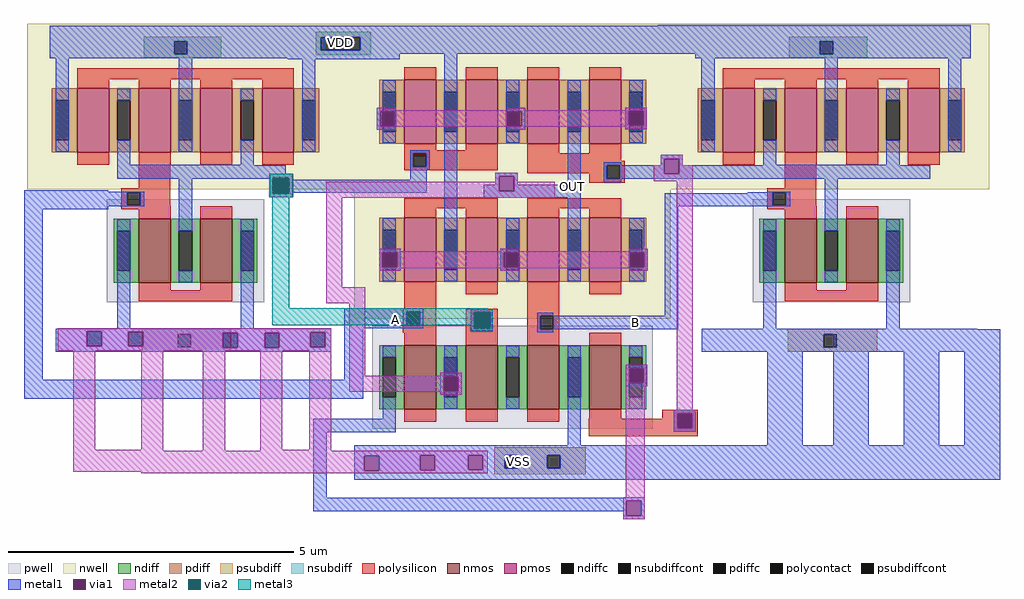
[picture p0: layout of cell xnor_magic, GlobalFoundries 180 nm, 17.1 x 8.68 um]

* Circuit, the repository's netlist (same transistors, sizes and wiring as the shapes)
* NGSPICE file created from xnor_magic.ext - technology: gf180mcuD

.subckt pmos_3p3_VZX6F7 a_164_n112# a_n164_n156# a_n252_n112# a_52_n156# w_n338_n242#
+ a_n52_n112#
X0 a_164_n112# a_52_n156# a_n52_n112# w_n338_n242# pfet_03v3 ad=0.4928p pd=3.12u as=0.2912p ps=1.64u w=1.12u l=0.56u
X1 a_n52_n112# a_n164_n156# a_n252_n112# w_n338_n242# pfet_03v3 ad=0.2912p pd=1.64u as=0.4928p ps=3.12u w=1.12u l=0.56u
.ends

.subckt pmos_3p3_VH67F7 a_380_n112# a_164_n112# a_n164_n156# a_n380_n156# a_52_n156#
+ a_n268_n112# w_n554_n242# a_268_n156# a_n52_n112# a_n468_n112#
X0 a_164_n112# a_52_n156# a_n52_n112# w_n554_n242# pfet_03v3 ad=0.2912p pd=1.64u as=0.2912p ps=1.64u w=1.12u l=0.56u
X1 a_380_n112# a_268_n156# a_164_n112# w_n554_n242# pfet_03v3 ad=0.4928p pd=3.12u as=0.2912p ps=1.64u w=1.12u l=0.56u
X2 a_n268_n112# a_n380_n156# a_n468_n112# w_n554_n242# pfet_03v3 ad=0.2912p pd=1.64u as=0.4928p ps=3.12u w=1.12u l=0.56u
X3 a_n52_n112# a_n164_n156# a_n268_n112# w_n554_n242# pfet_03v3 ad=0.2912p pd=1.64u as=0.2912p ps=1.64u w=1.12u l=0.56u
.ends

.subckt nmos_3p3_F2UGVV a_164_n112# a_n164_n156# a_n252_n112# a_52_n156# a_n52_n112#
+ VSUBS
X0 a_164_n112# a_52_n156# a_n52_n112# VSUBS nfet_03v3 ad=0.4928p pd=3.12u as=0.2912p ps=1.64u w=1.12u l=0.56u
X1 a_n52_n112# a_n164_n156# a_n252_n112# VSUBS nfet_03v3 ad=0.2912p pd=1.64u as=0.4928p ps=3.12u w=1.12u l=0.56u
.ends

.subckt inverter_magic VIN VOUT VDD VSS
Xpmos_3p3_VH67F7_0 VDD VOUT VIN VIN VIN VOUT VDD VIN VDD VDD pmos_3p3_VH67F7
Xnmos_3p3_F2UGVV_0 VSS VIN VSS VIN VOUT VSS nmos_3p3_F2UGVV
.ends

.subckt nmos_3p3_A2UGVV a_56_n112# a_n56_n156# a_n144_n112# VSUBS
X0 a_56_n112# a_n56_n156# a_n144_n112# VSUBS nfet_03v3 ad=0.4928p pd=3.12u as=0.4928p ps=3.12u w=1.12u l=0.56u
.ends

.subckt xnor_magic A B OUT VDD VSS
Xpmos_3p3_VZX6F7_0 m1_86_n315# B m1_86_n315# B VDD OUT pmos_3p3_VZX6F7
Xpmos_3p3_VZX6F7_1 m1_78_179# inverter_magic_1/VOUT m1_78_179# inverter_magic_1/VOUT
+ VDD VDD pmos_3p3_VZX6F7
Xpmos_3p3_VZX6F7_2 m1_78_179# inverter_magic_0/VOUT m1_78_179# inverter_magic_0/VOUT
+ VDD OUT pmos_3p3_VZX6F7
Xpmos_3p3_VZX6F7_3 m1_86_n315# A m1_86_n315# A VDD VDD pmos_3p3_VZX6F7
Xinverter_magic_0 B inverter_magic_0/VOUT VDD VSS inverter_magic
Xinverter_magic_1 A inverter_magic_1/VOUT VDD VSS inverter_magic
Xnmos_3p3_A2UGVV_0 m1_n144_n1158# inverter_magic_0/VOUT VSS VSS nmos_3p3_A2UGVV
Xnmos_3p3_A2UGVV_1 OUT A m1_n144_n1158# VSS nmos_3p3_A2UGVV
Xnmos_3p3_A2UGVV_2 nmos_3p3_A2UGVV_2/a_56_n112# inverter_magic_1/VOUT OUT VSS nmos_3p3_A2UGVV
Xnmos_3p3_A2UGVV_3 VSS B nmos_3p3_A2UGVV_2/a_56_n112# VSS nmos_3p3_A2UGVV
.ends

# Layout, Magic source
magic
tech gf180mcuD
magscale 1 10
<< nwell >>
rect -38 542 1117 549
rect -38 538 1139 542
rect -38 521 1157 538
rect -136 477 1157 521
rect -136 461 149 477
rect -138 445 149 461
rect 963 458 1157 477
rect 974 449 1157 458
rect 982 445 1138 449
rect -138 434 100 445
rect 1104 443 1125 445
rect -138 425 88 434
rect -38 -31 25 425
rect 174 36 502 106
rect 605 25 933 95
rect 1108 -31 1117 443
<< psubdiff >>
rect 490 -962 811 -935
rect 490 -1008 526 -962
rect 572 -1008 675 -962
rect 721 -1008 811 -962
rect 490 -1029 811 -1008
<< nsubdiff >>
rect -136 502 57 521
rect -136 456 -119 502
rect 21 456 57 502
rect -136 441 57 456
<< psubdiffcont >>
rect 526 -1008 572 -962
rect 675 -1008 721 -962
<< nsubdiffcont >>
rect -119 456 21 502
<< polysilicon >>
rect 174 95 502 106
rect 822 95 934 110
rect 174 49 206 95
rect 252 49 502 95
rect 174 36 502 49
rect 605 70 934 95
rect 605 53 947 70
rect 605 25 884 53
rect 822 7 884 25
rect 930 7 947 53
rect 822 -7 947 7
rect 174 -97 502 -61
rect 606 -97 934 -61
rect 174 -448 286 -379
rect 169 -460 286 -448
rect 169 -506 183 -460
rect 229 -506 286 -460
rect 169 -533 286 -506
rect 174 -555 286 -533
rect 390 -466 502 -449
rect 390 -512 423 -466
rect 469 -512 502 -466
rect 390 -544 502 -512
rect 606 -474 718 -378
rect 606 -520 651 -474
rect 697 -520 718 -474
rect 606 -562 718 -520
rect 1078 -822 1203 -803
rect 1078 -834 1131 -822
rect 821 -868 1131 -834
rect 1177 -868 1203 -822
rect 821 -895 1203 -868
<< polycontact >>
rect 206 49 252 95
rect 884 7 930 53
rect 183 -506 229 -460
rect 423 -512 469 -466
rect 651 -520 697 -474
rect 1131 -868 1177 -822
<< metal1 >>
rect 1062 543 2160 544
rect -1068 502 2160 543
rect -1068 456 -119 502
rect 21 456 2160 502
rect -1068 445 2160 456
rect -233 425 158 445
rect 99 255 145 352
rect 78 243 145 255
rect 78 191 90 243
rect 142 191 145 243
rect 78 179 145 191
rect 99 132 145 179
rect 195 95 264 106
rect -286 24 -240 53
rect 195 49 206 95
rect 252 49 264 95
rect 195 38 264 49
rect -298 8 -215 24
rect -1158 -39 -862 -34
rect -1158 -40 -815 -39
rect -1158 -85 -862 -40
rect -298 -44 -281 8
rect -229 3 -215 8
rect 195 3 254 38
rect -229 -43 254 3
rect -229 -44 -215 -43
rect -298 -59 -215 -44
rect -1158 -90 -815 -85
rect -1158 -100 -862 -90
rect -1158 -698 -1092 -100
rect 99 -239 145 -132
rect 86 -251 162 -239
rect 86 -303 98 -251
rect 150 -303 162 -251
rect 86 -315 162 -303
rect 99 -352 145 -315
rect 315 -352 361 445
rect 531 255 577 354
rect 531 243 598 255
rect 531 191 534 243
rect 586 191 598 243
rect 531 179 598 191
rect 531 132 577 179
rect 494 15 572 27
rect 494 -14 508 15
rect 453 -37 508 -14
rect 560 -14 572 15
rect 747 -14 793 352
rect 963 256 1011 352
rect 949 244 1025 256
rect 949 192 961 244
rect 1013 192 1025 244
rect 949 180 1025 192
rect 963 132 1011 180
rect 1073 76 1150 91
rect 873 53 934 65
rect 1073 53 1086 76
rect 873 7 884 53
rect 930 24 1086 53
rect 1138 53 1150 76
rect 1138 24 2017 53
rect 930 7 2017 24
rect 873 -5 934 7
rect 560 -37 793 -14
rect 453 -60 793 -37
rect 531 -239 577 -132
rect 511 -251 580 -239
rect 511 -303 523 -251
rect 575 -303 580 -251
rect 511 -315 580 -303
rect 531 -352 577 -315
rect 747 -352 793 -60
rect 1088 -90 1453 -44
rect 963 -239 1015 -132
rect 963 -251 1028 -239
rect 963 -303 964 -251
rect 1016 -303 1028 -251
rect 963 -315 1028 -303
rect 963 -352 1015 -315
rect -35 -460 241 -448
rect -35 -506 183 -460
rect 229 -506 241 -460
rect -35 -518 241 -506
rect 408 -463 485 -450
rect 408 -515 420 -463
rect 472 -515 485 -463
rect -998 -528 -86 -519
rect -998 -580 -938 -528
rect -886 -529 -86 -528
rect -886 -580 -792 -529
rect -998 -581 -792 -580
rect -740 -532 -86 -529
rect -740 -533 -155 -532
rect -740 -581 -461 -533
rect -998 -585 -461 -581
rect -409 -534 -155 -533
rect -409 -585 -315 -534
rect -998 -586 -315 -585
rect -263 -584 -155 -534
rect -103 -584 -86 -532
rect -263 -586 -86 -584
rect -998 -600 -86 -586
rect -35 -698 31 -518
rect 408 -527 485 -515
rect 640 -474 697 -463
rect 1088 -474 1134 -90
rect 640 -520 651 -474
rect 697 -520 1134 -474
rect 640 -531 697 -520
rect 315 -674 361 -579
rect -1158 -764 31 -698
rect 300 -686 376 -674
rect 300 -738 312 -686
rect 364 -738 376 -686
rect 300 -750 376 -738
rect 99 -835 145 -763
rect 315 -799 361 -750
rect -144 -881 145 -835
rect -144 -1112 -98 -881
rect 747 -927 793 -579
rect 950 -657 1026 -645
rect 950 -709 962 -657
rect 1014 -709 1026 -657
rect 950 -721 1026 -709
rect 1119 -816 1196 -803
rect 1119 -868 1131 -816
rect 1183 -868 1196 -816
rect 1119 -880 1196 -868
rect 1446 -927 1571 -521
rect 1677 -927 1802 -520
rect 1925 -927 2050 -520
rect 2137 -927 2262 -520
rect -1 -962 2262 -927
rect -1 -963 398 -962
rect -1 -964 230 -963
rect -1 -1016 34 -964
rect 86 -1015 230 -964
rect 282 -1014 398 -963
rect 450 -1008 526 -962
rect 572 -1008 675 -962
rect 721 -1008 2262 -962
rect 450 -1014 2262 -1008
rect 282 -1015 2262 -1014
rect 86 -1016 2262 -1015
rect -1 -1048 2262 -1016
rect 941 -1112 1018 -1110
rect -144 -1122 1018 -1112
rect -144 -1158 953 -1122
rect 941 -1174 953 -1158
rect 1005 -1174 1018 -1122
rect 941 -1186 1018 -1174
<< via1 >>
rect 90 191 142 243
rect -281 -44 -229 8
rect 98 -303 150 -251
rect 534 191 586 243
rect 508 -37 560 15
rect 961 192 1013 244
rect 1086 24 1138 76
rect 523 -303 575 -251
rect 964 -303 1016 -251
rect 420 -466 472 -463
rect 420 -512 423 -466
rect 423 -512 469 -466
rect 469 -512 472 -466
rect 420 -515 472 -512
rect -938 -580 -886 -528
rect -792 -581 -740 -529
rect -461 -585 -409 -533
rect -315 -586 -263 -534
rect -155 -584 -103 -532
rect 312 -738 364 -686
rect 962 -709 1014 -657
rect 1131 -822 1183 -816
rect 1131 -868 1177 -822
rect 1177 -868 1183 -822
rect 34 -1016 86 -964
rect 230 -1015 282 -963
rect 398 -1014 450 -962
rect 953 -1174 1005 -1122
<< metal2 >>
rect 78 246 145 255
rect 535 246 598 255
rect 949 246 1025 256
rect 78 244 1025 246
rect 78 243 961 244
rect 78 191 90 243
rect 142 191 534 243
rect 586 192 961 243
rect 1013 192 1025 244
rect 586 191 1025 192
rect 78 188 1025 191
rect 78 179 145 188
rect 535 179 598 188
rect 949 180 1025 188
rect 1073 76 1150 91
rect 1073 53 1086 76
rect -298 10 -215 24
rect -298 -46 -286 10
rect -230 8 -215 10
rect -229 -44 -215 8
rect 494 15 572 27
rect 494 -4 508 15
rect -230 -46 -215 -44
rect -298 -59 -215 -46
rect -99 -37 508 -4
rect 560 -4 572 15
rect 1049 24 1086 53
rect 1138 53 1150 76
rect 1138 24 1186 53
rect 1049 -3 1186 24
rect 560 -37 701 -4
rect -99 -60 701 -37
rect -99 -374 -43 -60
rect 86 -247 162 -239
rect 511 -247 580 -239
rect 963 -247 1028 -239
rect 86 -251 1028 -247
rect 86 -303 98 -251
rect 150 -303 523 -251
rect 575 -303 964 -251
rect 1016 -303 1028 -251
rect 86 -307 1028 -303
rect 86 -315 162 -307
rect 511 -315 580 -307
rect 963 -315 1028 -307
rect -99 -430 38 -374
rect -1040 -528 -81 -518
rect -1040 -580 -938 -528
rect -886 -529 -81 -528
rect -886 -580 -792 -529
rect -1040 -581 -792 -580
rect -740 -532 -81 -529
rect -740 -533 -155 -532
rect -740 -581 -461 -533
rect -1040 -585 -461 -581
rect -409 -534 -155 -533
rect -409 -585 -315 -534
rect -1040 -586 -315 -585
rect -263 -584 -155 -534
rect -103 -584 -81 -532
rect -263 -586 -81 -584
rect -1040 -596 -81 -586
rect -986 -943 -908 -596
rect -748 -943 -670 -596
rect -986 -947 -670 -943
rect -531 -947 -453 -596
rect -331 -943 -253 -596
rect -159 -943 -81 -596
rect -18 -684 38 -430
rect 408 -461 485 -450
rect 408 -517 419 -461
rect 475 -517 485 -461
rect 408 -527 485 -517
rect 950 -657 1026 -645
rect 300 -684 376 -674
rect -18 -686 376 -684
rect -18 -738 312 -686
rect 364 -738 376 -686
rect -18 -740 376 -738
rect 300 -750 376 -740
rect 950 -709 962 -657
rect 1014 -709 1026 -657
rect 950 -721 1026 -709
rect -331 -947 -81 -943
rect -986 -962 467 -947
rect -986 -963 398 -962
rect -986 -964 230 -963
rect -986 -1016 34 -964
rect 86 -1015 230 -964
rect 282 -1014 398 -963
rect 450 -1014 467 -962
rect 282 -1015 467 -1014
rect 86 -1016 467 -1015
rect -986 -1021 467 -1016
rect -748 -1025 467 -1021
rect 950 -1110 1018 -721
rect 1130 -759 1186 -3
rect 1129 -803 1186 -759
rect 1119 -816 1196 -803
rect 1119 -868 1131 -816
rect 1183 -868 1196 -816
rect 1119 -880 1196 -868
rect 941 -1122 1018 -1110
rect 941 -1174 953 -1122
rect 1005 -1174 1018 -1122
rect 941 -1186 1018 -1174
<< via2 >>
rect -286 8 -230 10
rect -286 -44 -281 8
rect -281 -44 -230 8
rect -286 -46 -230 -44
rect 419 -463 475 -461
rect 419 -515 420 -463
rect 420 -515 472 -463
rect 472 -515 475 -463
rect 419 -517 475 -515
<< metal3 >>
rect -297 10 -216 24
rect -297 -46 -286 10
rect -230 -46 -216 10
rect -297 -58 -216 -46
rect -288 -447 -229 -58
rect -288 -450 467 -447
rect -288 -461 485 -450
rect -288 -506 419 -461
rect 408 -517 419 -506
rect 475 -517 485 -461
rect 408 -527 485 -517
use inverter_magic  inverter_magic_0
transform 1 0 1117 0 1 -31
box 0 -569 1108 580
use inverter_magic  inverter_magic_1
transform 1 0 -1146 0 1 -31
box 0 -569 1108 580
use nmos_3p3_A2UGVV  nmos_3p3_A2UGVV_0
transform 1 0 878 0 1 -689
box -168 -180 168 180
use nmos_3p3_A2UGVV  nmos_3p3_A2UGVV_1
transform 1 0 230 0 1 -689
box -168 -180 168 180
use nmos_3p3_A2UGVV  nmos_3p3_A2UGVV_2
transform 1 0 446 0 1 -689
box -168 -180 168 180
use nmos_3p3_A2UGVV  nmos_3p3_A2UGVV_3
transform 1 0 662 0 1 -689
box -168 -180 168 180
use pmos_3p3_VZX6F7  pmos_3p3_VZX6F7_0
transform 1 0 770 0 1 -242
box -338 -242 338 242
use pmos_3p3_VZX6F7  pmos_3p3_VZX6F7_1
transform 1 0 338 0 1 242
box -338 -242 338 242
use pmos_3p3_VZX6F7  pmos_3p3_VZX6F7_2
transform 1 0 770 0 1 242
box -338 -242 338 242
use pmos_3p3_VZX6F7  pmos_3p3_VZX6F7_3
transform 1 0 338 0 1 -242
box -338 -242 338 242
<< labels >>
flabel metal1 s 144 -488 144 -488 0 FreeSans 750 0 0 0 A
port 1 nsew
flabel metal1 s 984 -497 984 -497 0 FreeSans 750 0 0 0 B
port 2 nsew
flabel metal1 s 764 -22 764 -22 0 FreeSans 750 0 0 0 OUT
port 3 nsew
flabel metal1 s -50 483 -50 483 0 FreeSans 1250 0 0 0 VDD
port 4 nsew
rlabel metal1 500 -1030 650 -940 0 VSS
port 5 nsew
<< end >>

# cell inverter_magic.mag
magic
tech gf180mcuD
magscale 1 10
<< nwell >>
rect 0 484 1108 580
rect 400 470 680 484
rect 407 461 680 470
<< psubdiff >>
rect 401 -507 715 -488
rect 401 -553 527 -507
rect 573 -553 715 -507
rect 401 -569 715 -553
<< nsubdiff >>
rect 407 520 680 535
rect 407 474 514 520
rect 560 474 680 520
rect 407 461 680 474
<< psubdiffcont >>
rect 527 -553 573 -507
<< nsubdiffcont >>
rect 514 474 560 520
<< polysilicon >>
rect 174 387 934 425
rect 390 5 501 89
rect 329 -9 501 5
rect 329 -55 349 -9
rect 395 -55 501 -9
rect 329 -59 501 -55
rect 329 -69 411 -59
rect 390 -391 718 -354
<< polycontact >>
rect 349 -55 395 -9
<< metal1 >>
rect 78 520 1043 536
rect 78 474 514 520
rect 560 474 1043 520
rect 78 459 1043 474
rect 99 143 145 459
rect 315 86 361 144
rect 531 143 577 459
rect 963 143 1009 459
rect 747 86 793 143
rect 315 84 793 86
rect 315 38 900 84
rect 329 -9 410 -8
rect 261 -55 349 -9
rect 395 -55 410 -9
rect 329 -59 410 -55
rect 315 -488 361 -105
rect 531 -116 577 38
rect 747 -488 793 -105
rect 100 -507 1065 -488
rect 100 -553 527 -507
rect 573 -553 1065 -507
rect 100 -569 1065 -553
use nmos_3p3_F2UGVV  nmos_3p3_F2UGVV_0
transform 1 0 554 0 1 -215
box -276 -180 276 180
use pmos_3p3_VH67F7  pmos_3p3_VH67F7_0
transform 1 0 554 0 1 242
box -554 -242 554 242
<< labels >>
flabel nsubdiffcont 536 497 536 497 0 FreeSans 750 0 0 0 VDD
flabel psubdiffcont 551 -530 551 -530 0 FreeSans 750 0 0 0 VSS
flabel metal1 s 273 -31 273 -31 0 FreeSans 750 0 0 0 VIN
port 1 nsew
flabel metal1 s 862 59 862 59 0 FreeSans 750 0 0 0 VOUT
port 2 nsew
<< end >>

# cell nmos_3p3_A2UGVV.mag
magic
tech gf180mcuD
magscale 1 10
<< pwell >>
rect -168 -180 168 180
<< nmos >>
rect -56 -112 56 112
<< ndiff >>
rect -144 70 -56 112
rect -144 -70 -131 70
rect -85 -70 -56 70
rect -144 -112 -56 -70
rect 56 70 144 112
rect 56 -70 85 70
rect 131 -70 144 70
rect 56 -112 144 -70
<< ndiffc >>
rect -131 -70 -85 70
rect 85 -70 131 70
<< polysilicon >>
rect -56 112 56 156
rect -56 -156 56 -112
<< metal1 >>
rect -131 70 -85 110
rect -131 -110 -85 -70
rect 85 70 131 110
rect 85 -110 131 -70
<< end >>

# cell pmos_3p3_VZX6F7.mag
magic
tech gf180mcuD
magscale 1 10
<< nwell >>
rect -338 -242 338 242
<< pmos >>
rect -164 -112 -52 112
rect 52 -112 164 112
<< pdiff >>
rect -252 70 -164 112
rect -252 -70 -239 70
rect -193 -70 -164 70
rect -252 -112 -164 -70
rect -52 70 52 112
rect -52 -70 -23 70
rect 23 -70 52 70
rect -52 -112 52 -70
rect 164 70 252 112
rect 164 -70 193 70
rect 239 -70 252 70
rect 164 -112 252 -70
<< pdiffc >>
rect -239 -70 -193 70
rect -23 -70 23 70
rect 193 -70 239 70
<< polysilicon >>
rect -164 112 -52 156
rect 52 112 164 156
rect -164 -156 -52 -112
rect 52 -156 164 -112
<< metal1 >>
rect -239 70 -193 110
rect -239 -110 -193 -70
rect -23 70 23 110
rect -23 -110 23 -70
rect 193 70 239 110
rect 193 -110 239 -70
<< end >>

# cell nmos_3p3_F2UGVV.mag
magic
tech gf180mcuD
magscale 1 10
<< pwell >>
rect -276 -180 276 180
<< nmos >>
rect -164 -112 -52 112
rect 52 -112 164 112
<< ndiff >>
rect -252 70 -164 112
rect -252 -70 -239 70
rect -193 -70 -164 70
rect -252 -112 -164 -70
rect -52 70 52 112
rect -52 -70 -23 70
rect 23 -70 52 70
rect -52 -112 52 -70
rect 164 70 252 112
rect 164 -70 193 70
rect 239 -70 252 70
rect 164 -112 252 -70
<< ndiffc >>
rect -239 -70 -193 70
rect -23 -70 23 70
rect 193 -70 239 70
<< polysilicon >>
rect -164 112 -52 156
rect 52 112 164 156
rect -164 -156 -52 -112
rect 52 -156 164 -112
<< metal1 >>
rect -239 70 -193 110
rect -239 -110 -193 -70
rect -23 70 23 110
rect -23 -110 23 -70
rect 193 70 239 110
rect 193 -110 239 -70
<< end >>

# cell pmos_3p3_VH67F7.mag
magic
tech gf180mcuD
magscale 1 10
<< nwell >>
rect -554 -242 554 242
<< pmos >>
rect -380 -112 -268 112
rect -164 -112 -52 112
rect 52 -112 164 112
rect 268 -112 380 112
<< pdiff >>
rect -468 70 -380 112
rect -468 -70 -455 70
rect -409 -70 -380 70
rect -468 -112 -380 -70
rect -268 70 -164 112
rect -268 -70 -239 70
rect -193 -70 -164 70
rect -268 -112 -164 -70
rect -52 70 52 112
rect -52 -70 -23 70
rect 23 -70 52 70
rect -52 -112 52 -70
rect 164 70 268 112
rect 164 -70 193 70
rect 239 -70 268 70
rect 164 -112 268 -70
rect 380 70 468 112
rect 380 -70 409 70
rect 455 -70 468 70
rect 380 -112 468 -70
<< pdiffc >>
rect -455 -70 -409 70
rect -239 -70 -193 70
rect -23 -70 23 70
rect 193 -70 239 70
rect 409 -70 455 70
<< polysilicon >>
rect -380 112 -268 156
rect -164 112 -52 156
rect 52 112 164 156
rect 268 112 380 156
rect -380 -156 -268 -112
rect -164 -156 -52 -112
rect 52 -156 164 -112
rect 268 -156 380 -112
<< metal1 >>
rect -455 70 -409 110
rect -455 -110 -409 -70
rect -239 70 -193 110
rect -239 -110 -193 -70
rect -23 70 23 110
rect -23 -110 23 -70
rect 193 70 239 110
rect 193 -110 239 -70
rect 409 70 455 110
rect 409 -110 455 -70
<< end >>
